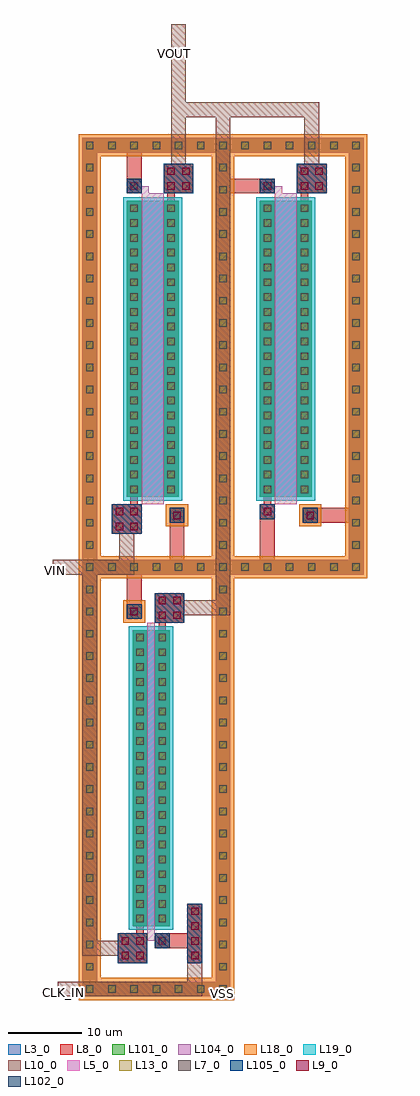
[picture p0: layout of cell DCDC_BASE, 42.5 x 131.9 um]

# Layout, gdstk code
from math import pi, radians
import gdstk
lib = gdstk.Library(unit=1e-6, precision=1e-07)
def R(c, l, rs):  # rectangles x0, y0, x1, y1
    for r in rs: c.add(gdstk.rectangle(r[:2], r[2:], *l))
L3_0 = (3, 0)
L5_0 = (5, 0)
L7_0 = (7, 0)
L8_0 = (8, 0)
L9_0 = (9, 0)
L10_0 = (10, 0)
L13_0 = (13, 0)
L18_0 = (18, 0)
L19_0 = (19, 0)
L101_0 = (101, 0)
L102_0 = (102, 0)
L104_0 = (104, 0)
L105_0 = (105, 0)

dcont1_1 = lib.new_cell('dcont1$1')
R(dcont1_1, L3_0, [(-1,-1,1,1)])
R(dcont1_1, L7_0, [(-0.5,-0.5,0.5,0.5)])
R(dcont1_1, L8_0, [(-1,-1,1,1)])
R(dcont1_1, L13_0, [(-0.5,-0.5,0.5,0.5)])
R(dcont1_1, L101_0, [(-1,-1,1,1)])

psubcont_1 = lib.new_cell('psubcont$1')
R(psubcont_1, L18_0, [(-1.5,-1.5,1.5,1.5)])
R(psubcont_1, L104_0, [(-1,-1,1,1)])
psubcont_1.add(gdstk.Reference(dcont1_1, (0,0)))

dcont = lib.new_cell('dcont')
R(dcont, L3_0, [(-1,-1,1,1)])
R(dcont, L7_0, [(-0.5,-0.5,0.5,0.5)])
R(dcont, L8_0, [(-1,-1,1,1)])
R(dcont, L13_0, [(-0.5,-0.5,0.5,0.5)])
R(dcont, L101_0, [(-1,-1,1,1)])

pcont = lib.new_cell('pcont')
R(pcont, L5_0, [(-1,-1,1,1)])
R(pcont, L7_0, [(-0.5,-0.5,0.5,0.5)])
R(pcont, L8_0, [(-1,-1,1,1)])
R(pcont, L13_0, [(-0.5,-0.5,0.5,0.5)])
R(pcont, L102_0, [(-1,-1,1,1)])

via = lib.new_cell('Via')
R(via, L8_0, [(-1,-1,1,1)])
R(via, L9_0, [(-0.5,-0.5,0.5,0.5)])
R(via, L10_0, [(-1,-1,1,1)])
R(via, L13_0, [(-0.5,-0.5,0.5,0.5)])
R(via, L105_0, [(-1,-1,1,1)])

dcont1 = lib.new_cell('dcont1')
R(dcont1, L3_0, [(-1,-1,1,1)])
R(dcont1, L7_0, [(-0.5,-0.5,0.5,0.5)])
R(dcont1, L8_0, [(-1,-1,1,1)])
R(dcont1, L13_0, [(-0.5,-0.5,0.5,0.5)])
R(dcont1, L101_0, [(-1,-1,1,1)])

psubcont = lib.new_cell('psubcont')
R(psubcont, L18_0, [(-1.5,-1.5,1.5,1.5)])
R(psubcont, L104_0, [(-1,-1,1,1)])
psubcont.add(gdstk.Reference(dcont1, (0,0)))

nch_1 = lib.new_cell('Nch$1')
R(nch_1, L3_0, [(0,3,7,43)])
R(nch_1, L19_0, [(-0.5,2.5,7.5,43.5)])
nch_1.add(gdstk.FlexPath([(3.5,3),(3.5,43)], 3, ends=(1, 1), simple_path=True, layer=5, datatype=0))  # L5_0
nch_1.add(gdstk.FlexPath([(1,44.5),(2.5,44.5),(2.5,44)], 1, ends="flush", simple_path=True, layer=5, datatype=0))  # L5_0
nch_1.add(gdstk.FlexPath([(1,3),(1,43)], 2, ends="flush", simple_path=True, layer=8, datatype=0))  # L8_0
nch_1.add(gdstk.FlexPath([(6,3),(6,43)], 2, ends="flush", simple_path=True, layer=8, datatype=0))  # L8_0
nch_1.add(gdstk.FlexPath([(1,1),(1,4)], 1, ends="flush", simple_path=True, layer=8, datatype=0))  # L8_0
nch_1.add(gdstk.FlexPath([(6,42),(6,45)], 1, ends="flush", simple_path=True, layer=8, datatype=0))  # L8_0
nch_1.add(gdstk.Reference(dcont, (1,4)))
nch_1.add(gdstk.Reference(dcont, (1,6)))
nch_1.add(gdstk.Reference(dcont, (1,8)))
nch_1.add(gdstk.Reference(dcont, (1,10)))
nch_1.add(gdstk.Reference(dcont, (1,12)))
nch_1.add(gdstk.Reference(dcont, (1,14)))
nch_1.add(gdstk.Reference(dcont, (1,16)))
nch_1.add(gdstk.Reference(dcont, (1,18)))
nch_1.add(gdstk.Reference(dcont, (1,20)))
nch_1.add(gdstk.Reference(dcont, (1,22)))
nch_1.add(gdstk.Reference(dcont, (1,24)))
nch_1.add(gdstk.Reference(dcont, (1,26)))
nch_1.add(gdstk.Reference(dcont, (1,28)))
nch_1.add(gdstk.Reference(dcont, (1,30)))
nch_1.add(gdstk.Reference(dcont, (1,32)))
nch_1.add(gdstk.Reference(dcont, (1,34)))
nch_1.add(gdstk.Reference(dcont, (1,36)))
nch_1.add(gdstk.Reference(dcont, (1,38)))
nch_1.add(gdstk.Reference(dcont, (1,40)))
nch_1.add(gdstk.Reference(dcont, (1,42)))
nch_1.add(gdstk.Reference(dcont, (6,4)))
nch_1.add(gdstk.Reference(dcont, (6,6)))
nch_1.add(gdstk.Reference(dcont, (6,8)))
nch_1.add(gdstk.Reference(dcont, (6,10)))
nch_1.add(gdstk.Reference(dcont, (6,12)))
nch_1.add(gdstk.Reference(dcont, (6,14)))
nch_1.add(gdstk.Reference(dcont, (6,16)))
nch_1.add(gdstk.Reference(dcont, (6,18)))
nch_1.add(gdstk.Reference(dcont, (6,20)))
nch_1.add(gdstk.Reference(dcont, (6,22)))
nch_1.add(gdstk.Reference(dcont, (6,24)))
nch_1.add(gdstk.Reference(dcont, (6,26)))
nch_1.add(gdstk.Reference(dcont, (6,28)))
nch_1.add(gdstk.Reference(dcont, (6,30)))
nch_1.add(gdstk.Reference(dcont, (6,32)))
nch_1.add(gdstk.Reference(dcont, (6,34)))
nch_1.add(gdstk.Reference(dcont, (6,36)))
nch_1.add(gdstk.Reference(dcont, (6,38)))
nch_1.add(gdstk.Reference(dcont, (6,40)))
nch_1.add(gdstk.Reference(dcont, (6,42)))
nch_1.add(gdstk.Reference(pcont, (1,45)))
nch_1.add(gdstk.Reference(via, (1,45)))
nch_1.add(gdstk.Reference(via, (1,1)))
nch_1.add(gdstk.Reference(via, (6,45)))
nch_1.add(gdstk.Reference(psubcont, (6.8,0.5)))
nch_1.add(gdstk.Reference(via, (6.8,0.5)))

via_1 = lib.new_cell('Via$1')
R(via_1, L8_0, [(-1,-1,1,1)])
R(via_1, L9_0, [(-0.5,-0.5,0.5,0.5)])
R(via_1, L10_0, [(-1,-1,1,1)])
R(via_1, L13_0, [(-0.5,-0.5,0.5,0.5)])
R(via_1, L105_0, [(-1,-1,1,1)])

nch = lib.new_cell('Nch')
R(nch, L3_0, [(0,3,5,43)])
R(nch, L19_0, [(-0.5,2.5,5.5,43.5)])
nch.add(gdstk.FlexPath([(2.5,3),(2.5,43)], 1, ends=(1, 1), simple_path=True, layer=5, datatype=0))  # L5_0
nch.add(gdstk.FlexPath([(1,44.5),(2.5,44.5),(2.5,44)], 1, ends="flush", simple_path=True, layer=5, datatype=0))  # L5_0
nch.add(gdstk.FlexPath([(1,3),(1,43)], 2, ends="flush", simple_path=True, layer=8, datatype=0))  # L8_0
nch.add(gdstk.FlexPath([(4,3),(4,43)], 2, ends="flush", simple_path=True, layer=8, datatype=0))  # L8_0
nch.add(gdstk.FlexPath([(1,1),(1,4)], 1, ends="flush", simple_path=True, layer=8, datatype=0))  # L8_0
nch.add(gdstk.FlexPath([(4,42),(4,45)], 1, ends="flush", simple_path=True, layer=8, datatype=0))  # L8_0
nch.add(gdstk.Reference(dcont, (1,4)))
nch.add(gdstk.Reference(dcont, (1,6)))
nch.add(gdstk.Reference(dcont, (1,8)))
nch.add(gdstk.Reference(dcont, (1,10)))
nch.add(gdstk.Reference(dcont, (1,12)))
nch.add(gdstk.Reference(dcont, (1,14)))
nch.add(gdstk.Reference(dcont, (1,16)))
nch.add(gdstk.Reference(dcont, (1,18)))
nch.add(gdstk.Reference(dcont, (1,20)))
nch.add(gdstk.Reference(dcont, (1,22)))
nch.add(gdstk.Reference(dcont, (1,24)))
nch.add(gdstk.Reference(dcont, (1,26)))
nch.add(gdstk.Reference(dcont, (1,28)))
nch.add(gdstk.Reference(dcont, (1,30)))
nch.add(gdstk.Reference(dcont, (1,32)))
nch.add(gdstk.Reference(dcont, (1,34)))
nch.add(gdstk.Reference(dcont, (1,36)))
nch.add(gdstk.Reference(dcont, (1,38)))
nch.add(gdstk.Reference(dcont, (1,40)))
nch.add(gdstk.Reference(dcont, (1,42)))
nch.add(gdstk.Reference(dcont, (4,4)))
nch.add(gdstk.Reference(dcont, (4,6)))
nch.add(gdstk.Reference(dcont, (4,8)))
nch.add(gdstk.Reference(dcont, (4,10)))
nch.add(gdstk.Reference(dcont, (4,12)))
nch.add(gdstk.Reference(dcont, (4,14)))
nch.add(gdstk.Reference(dcont, (4,16)))
nch.add(gdstk.Reference(dcont, (4,18)))
nch.add(gdstk.Reference(dcont, (4,20)))
nch.add(gdstk.Reference(dcont, (4,22)))
nch.add(gdstk.Reference(dcont, (4,24)))
nch.add(gdstk.Reference(dcont, (4,26)))
nch.add(gdstk.Reference(dcont, (4,28)))
nch.add(gdstk.Reference(dcont, (4,30)))
nch.add(gdstk.Reference(dcont, (4,32)))
nch.add(gdstk.Reference(dcont, (4,34)))
nch.add(gdstk.Reference(dcont, (4,36)))
nch.add(gdstk.Reference(dcont, (4,38)))
nch.add(gdstk.Reference(dcont, (4,40)))
nch.add(gdstk.Reference(dcont, (4,42)))
nch.add(gdstk.Reference(pcont, (1,45)))
nch.add(gdstk.Reference(via, (1,45)))
nch.add(gdstk.Reference(via, (1,1)))
nch.add(gdstk.Reference(via, (4,45)))
nch.add(gdstk.Reference(psubcont, (4.8,0.5)))
nch.add(gdstk.Reference(via, (4.8,0.5)))

dcdc_base = lib.new_cell('DCDC_BASE')
dcdc_base.add(gdstk.FlexPath([(2.6,54.8),(2.6,-60.2),(20.6,-60.2),(20.6,53.8),(3.6,53.8)], 2, ends="flush", simple_path=True, layer=3, datatype=0))  # L3_0
dcdc_base.add(gdstk.FlexPath([(21.6,-3.2),(38.6,-3.2),(38.6,53.8),(21.6,53.8)], 2, ends="flush", simple_path=True, layer=3, datatype=0))  # L3_0
dcdc_base.add(gdstk.FlexPath([(3.6,-3.2),(19.6,-3.2)], 2, ends="flush", simple_path=True, layer=3, datatype=0))  # L3_0
dcdc_base.add(gdstk.FlexPath([(2.6,54.8),(2.6,-60.2),(20.6,-60.2),(20.6,53.8),(3.6,53.8)], 2, ends="flush", simple_path=True, layer=8, datatype=0))  # L8_0
dcdc_base.add(gdstk.FlexPath([(3.6,-3.2),(38.6,-3.2),(38.6,53.8),(21.6,53.8)], 2, ends="flush", simple_path=True, layer=8, datatype=0))  # L8_0
dcdc_base.add(gdstk.FlexPath([(31.4,3.8),(38.8,3.8)], 2, ends="flush", simple_path=True, layer=8, datatype=0))  # L8_0
dcdc_base.add(gdstk.FlexPath([(26.6,5),(26.6,-3.4)], 2, ends="flush", simple_path=True, layer=8, datatype=0))  # L8_0
dcdc_base.add(gdstk.FlexPath([(26.6,48.3),(20.6,48.3)], 2, ends="flush", simple_path=True, layer=8, datatype=0))  # L8_0
dcdc_base.add(gdstk.FlexPath([(8.6,-9.2),(8.6,-3.3)], 2, ends="flush", simple_path=True, layer=8, datatype=0))  # L8_0
dcdc_base.add(gdstk.FlexPath([(12.5,-53.7),(16.9,-53.7)], 2, ends="flush", simple_path=True, layer=8, datatype=0))  # L8_0
dcdc_base.add(gdstk.FlexPath([(8.6,48.3),(8.6,53.9)], 2, ends="flush", simple_path=True, layer=8, datatype=0))  # L8_0
dcdc_base.add(gdstk.FlexPath([(14.4,3.8),(14.4,-3.2)], 2, ends="flush", simple_path=True, layer=8, datatype=0))  # L8_0
dcdc_base.add(gdstk.FlexPath([(16.8,-54.5),(16.8,-60.2),(-1.7,-60.2)], 2, ends="flush", simple_path=True, layer=10, datatype=0))  # L10_0
dcdc_base.add(gdstk.FlexPath([(14.6,49.3),(14.6,58.6),(32.6,58.6),(32.6,49.3)], 2, ends="flush", simple_path=True, layer=10, datatype=0))  # L10_0
dcdc_base.add(gdstk.FlexPath([(14.6,58.6),(14.6,70.2)], 2, ends="flush", simple_path=True, layer=10, datatype=0))  # L10_0
dcdc_base.add(gdstk.FlexPath([(7.6,3.3),(7.6,-3.2),(-2.4,-3.2)], 2, ends="flush", simple_path=True, layer=10, datatype=0))  # L10_0
dcdc_base.add(gdstk.FlexPath([(13.4,-8.7),(20.6,-8.7),(20.6,58.5)], 2, ends="flush", simple_path=True, layer=10, datatype=0))  # L10_0
dcdc_base.add(gdstk.FlexPath([(8.4,-54.7),(2.6,-54.7),(2.6,-3.2)], 2, ends="flush", simple_path=True, layer=10, datatype=0))  # L10_0
dcdc_base.add(gdstk.FlexPath([(2.6,54.8),(2.6,-60.2),(20.6,-60.2),(20.6,53.8),(3.6,53.8)], 2, ends="flush", simple_path=True, layer=101, datatype=0))  # L101_0
dcdc_base.add(gdstk.FlexPath([(3.6,-3.2),(38.6,-3.2),(38.6,53.8),(21.6,53.8)], 2, ends="flush", simple_path=True, layer=101, datatype=0))  # L101_0
dcdc_base.add(gdstk.FlexPath([(2.6,54.8),(2.6,-60.2),(20.6,-60.2),(20.6,53.8),(3.6,53.8)], 2, ends="flush", simple_path=True, layer=104, datatype=0))  # L104_0
dcdc_base.add(gdstk.FlexPath([(3.6,-3.2),(38.6,-3.2),(38.6,53.8),(21.6,53.8)], 2, ends="flush", simple_path=True, layer=104, datatype=0))  # L104_0
dcdc_base.add(gdstk.Reference(psubcont_1, (20.6,53.8)))
dcdc_base.add(gdstk.Reference(psubcont_1, (2.6,-3.2)))
dcdc_base.add(gdstk.Reference(psubcont_1, (5.6,-3.2)))
dcdc_base.add(gdstk.Reference(psubcont_1, (8.6,-3.2)))
dcdc_base.add(gdstk.Reference(psubcont_1, (11.6,-3.2)))
dcdc_base.add(gdstk.Reference(psubcont_1, (14.6,-3.2)))
dcdc_base.add(gdstk.Reference(psubcont_1, (17.6,-3.2)))
dcdc_base.add(gdstk.Reference(psubcont_1, (20.6,-3.2)))
dcdc_base.add(gdstk.Reference(psubcont_1, (23.6,-3.2)))
dcdc_base.add(gdstk.Reference(psubcont_1, (26.6,-3.2)))
dcdc_base.add(gdstk.Reference(psubcont_1, (29.6,-3.2)))
dcdc_base.add(gdstk.Reference(psubcont_1, (32.6,-3.2)))
dcdc_base.add(gdstk.Reference(psubcont_1, (35.6,-3.2)))
dcdc_base.add(gdstk.Reference(psubcont_1, (38.6,-3.2)))
dcdc_base.add(gdstk.Reference(psubcont_1, (38.6,-3.2)))
dcdc_base.add(gdstk.Reference(psubcont_1, (20.6,50.8)))
dcdc_base.add(gdstk.Reference(psubcont_1, (20.6,47.8)))
dcdc_base.add(gdstk.Reference(psubcont_1, (20.6,44.8)))
dcdc_base.add(gdstk.Reference(psubcont_1, (20.6,41.8)))
dcdc_base.add(gdstk.Reference(psubcont_1, (20.6,38.8)))
dcdc_base.add(gdstk.Reference(psubcont_1, (20.6,35.8)))
dcdc_base.add(gdstk.Reference(psubcont_1, (20.6,32.8)))
dcdc_base.add(gdstk.Reference(psubcont_1, (20.6,29.8)))
dcdc_base.add(gdstk.Reference(psubcont_1, (20.6,26.8)))
dcdc_base.add(gdstk.Reference(psubcont_1, (20.6,23.8)))
dcdc_base.add(gdstk.Reference(psubcont_1, (20.6,20.8)))
dcdc_base.add(gdstk.Reference(psubcont_1, (20.6,17.8)))
dcdc_base.add(gdstk.Reference(psubcont_1, (20.6,14.8)))
dcdc_base.add(gdstk.Reference(psubcont_1, (20.6,11.8)))
dcdc_base.add(gdstk.Reference(psubcont_1, (20.6,8.8)))
dcdc_base.add(gdstk.Reference(psubcont_1, (20.6,5.8)))
dcdc_base.add(gdstk.Reference(psubcont_1, (20.6,2.8)))
dcdc_base.add(gdstk.Reference(psubcont_1, (20.6,-0.2)))
dcdc_base.add(gdstk.Reference(psubcont_1, (20.6,-6.2)))
dcdc_base.add(gdstk.Reference(psubcont_1, (20.6,-9.2)))
dcdc_base.add(gdstk.Reference(psubcont_1, (20.6,-12.2)))
dcdc_base.add(gdstk.Reference(psubcont_1, (20.6,-15.2)))
dcdc_base.add(gdstk.Reference(psubcont_1, (20.6,-18.2)))
dcdc_base.add(gdstk.Reference(psubcont_1, (20.6,-21.2)))
dcdc_base.add(gdstk.Reference(psubcont_1, (20.6,-24.2)))
dcdc_base.add(gdstk.Reference(psubcont_1, (20.6,-27.2)))
dcdc_base.add(gdstk.Reference(psubcont_1, (20.6,-30.2)))
dcdc_base.add(gdstk.Reference(psubcont_1, (20.6,-33.2)))
dcdc_base.add(gdstk.Reference(psubcont_1, (20.6,-36.2)))
dcdc_base.add(gdstk.Reference(psubcont_1, (20.6,-39.2)))
dcdc_base.add(gdstk.Reference(psubcont_1, (20.6,-42.2)))
dcdc_base.add(gdstk.Reference(psubcont_1, (20.6,-45.2)))
dcdc_base.add(gdstk.Reference(psubcont_1, (20.6,-48.2)))
dcdc_base.add(gdstk.Reference(psubcont_1, (20.6,-51.2)))
dcdc_base.add(gdstk.Reference(psubcont_1, (20.6,-54.2)))
dcdc_base.add(gdstk.Reference(psubcont_1, (20.6,-57.2)))
dcdc_base.add(gdstk.Reference(psubcont_1, (20.6,-60.2)))
dcdc_base.add(gdstk.Reference(psubcont_1, (38.6,-0.2)))
dcdc_base.add(gdstk.Reference(nch_1, (25.6,3.3)))
dcdc_base.add(gdstk.Reference(psubcont_1, (23.6,53.8)))
dcdc_base.add(gdstk.Reference(psubcont_1, (26.6,53.8)))
dcdc_base.add(gdstk.Reference(psubcont_1, (38.6,2.8)))
dcdc_base.add(gdstk.Reference(psubcont_1, (38.6,5.8)))
dcdc_base.add(gdstk.Reference(psubcont_1, (38.6,8.8)))
dcdc_base.add(gdstk.Reference(psubcont_1, (38.6,11.8)))
dcdc_base.add(gdstk.Reference(psubcont_1, (38.6,14.8)))
dcdc_base.add(gdstk.Reference(psubcont_1, (38.6,17.8)))
dcdc_base.add(gdstk.Reference(psubcont_1, (38.6,20.8)))
dcdc_base.add(gdstk.Reference(psubcont_1, (38.6,23.8)))
dcdc_base.add(gdstk.Reference(psubcont_1, (38.6,26.8)))
dcdc_base.add(gdstk.Reference(psubcont_1, (38.6,29.8)))
dcdc_base.add(gdstk.Reference(psubcont_1, (38.6,32.8)))
dcdc_base.add(gdstk.Reference(psubcont_1, (38.6,35.8)))
dcdc_base.add(gdstk.Reference(psubcont_1, (38.6,38.8)))
dcdc_base.add(gdstk.Reference(psubcont_1, (38.6,41.8)))
dcdc_base.add(gdstk.Reference(psubcont_1, (38.6,44.8)))
dcdc_base.add(gdstk.Reference(psubcont_1, (38.6,47.8)))
dcdc_base.add(gdstk.Reference(psubcont_1, (38.6,50.8)))
dcdc_base.add(gdstk.Reference(psubcont_1, (38.6,53.8)))
dcdc_base.add(gdstk.Reference(psubcont_1, (32.6,53.8)))
dcdc_base.add(gdstk.Reference(psubcont_1, (35.6,53.8)))
dcdc_base.add(gdstk.Reference(psubcont_1, (29.6,53.8)))
dcdc_base.add(gdstk.Reference(via_1, (31.6,50.3)))
dcdc_base.add(gdstk.Reference(via_1, (33.6,48.3)))
dcdc_base.add(gdstk.Reference(via_1, (33.6,50.3)))
dcdc_base.add(gdstk.Reference(psubcont_1, (14.6,53.8)))
dcdc_base.add(gdstk.Reference(psubcont_1, (17.6,53.8)))
dcdc_base.add(gdstk.Reference(nch_1, (7.6,3.3)))
dcdc_base.add(gdstk.Reference(psubcont_1, (5.6,53.8)))
dcdc_base.add(gdstk.Reference(psubcont_1, (8.6,53.8)))
dcdc_base.add(gdstk.Reference(psubcont_1, (11.6,53.8)))
dcdc_base.add(gdstk.Reference(psubcont_1, (2.6,53.8)))
dcdc_base.add(gdstk.Reference(psubcont_1, (2.6,50.8)))
dcdc_base.add(gdstk.Reference(psubcont_1, (2.6,47.8)))
dcdc_base.add(gdstk.Reference(psubcont_1, (2.6,44.8)))
dcdc_base.add(gdstk.Reference(psubcont_1, (2.6,41.8)))
dcdc_base.add(gdstk.Reference(psubcont_1, (2.6,38.8)))
dcdc_base.add(gdstk.Reference(psubcont_1, (2.6,35.8)))
dcdc_base.add(gdstk.Reference(psubcont_1, (2.6,32.8)))
dcdc_base.add(gdstk.Reference(psubcont_1, (2.6,29.8)))
dcdc_base.add(gdstk.Reference(psubcont_1, (2.6,26.8)))
dcdc_base.add(gdstk.Reference(psubcont_1, (2.6,23.8)))
dcdc_base.add(gdstk.Reference(psubcont_1, (2.6,20.8)))
dcdc_base.add(gdstk.Reference(psubcont_1, (2.6,17.8)))
dcdc_base.add(gdstk.Reference(psubcont_1, (2.6,14.8)))
dcdc_base.add(gdstk.Reference(psubcont_1, (2.6,11.8)))
dcdc_base.add(gdstk.Reference(psubcont_1, (2.6,8.8)))
dcdc_base.add(gdstk.Reference(psubcont_1, (2.6,5.8)))
dcdc_base.add(gdstk.Reference(psubcont_1, (2.6,2.8)))
dcdc_base.add(gdstk.Reference(psubcont_1, (2.6,-0.2)))
dcdc_base.add(gdstk.Reference(via_1, (13.6,50.3)))
dcdc_base.add(gdstk.Reference(via_1, (15.6,50.3)))
dcdc_base.add(gdstk.Reference(via_1, (15.6,48.3)))
dcdc_base.add(gdstk.Reference(via_1, (6.6,4.3)))
dcdc_base.add(gdstk.Reference(via_1, (6.6,2.3)))
dcdc_base.add(gdstk.Reference(via_1, (8.6,2.3)))
dcdc_base.add(gdstk.Reference(psubcont_1, (2.6,-57.2)))
dcdc_base.add(gdstk.Reference(nch, (13.4,-8.7), rotation=pi))
dcdc_base.add(gdstk.Reference(psubcont_1, (2.6,-6.2)))
dcdc_base.add(gdstk.Reference(psubcont_1, (2.6,-9.2)))
dcdc_base.add(gdstk.Reference(psubcont_1, (2.6,-12.2)))
dcdc_base.add(gdstk.Reference(psubcont_1, (2.6,-15.2)))
dcdc_base.add(gdstk.Reference(psubcont_1, (2.6,-18.2)))
dcdc_base.add(gdstk.Reference(psubcont_1, (2.6,-21.2)))
dcdc_base.add(gdstk.Reference(psubcont_1, (2.6,-24.2)))
dcdc_base.add(gdstk.Reference(psubcont_1, (2.6,-27.2)))
dcdc_base.add(gdstk.Reference(psubcont_1, (2.6,-30.2)))
dcdc_base.add(gdstk.Reference(psubcont_1, (2.6,-33.2)))
dcdc_base.add(gdstk.Reference(psubcont_1, (8.6,-60.2)))
dcdc_base.add(gdstk.Reference(psubcont_1, (11.6,-60.2)))
dcdc_base.add(gdstk.Reference(psubcont_1, (14.6,-60.2)))
dcdc_base.add(gdstk.Reference(psubcont_1, (17.6,-60.2)))
dcdc_base.add(gdstk.Reference(psubcont_1, (2.6,-60.2)))
dcdc_base.add(gdstk.Reference(psubcont_1, (2.6,-36.2)))
dcdc_base.add(gdstk.Reference(psubcont_1, (2.6,-39.2)))
dcdc_base.add(gdstk.Reference(psubcont_1, (5.6,-60.2)))
dcdc_base.add(gdstk.Reference(psubcont_1, (2.6,-42.2)))
dcdc_base.add(gdstk.Reference(psubcont_1, (2.6,-45.2)))
dcdc_base.add(gdstk.Reference(psubcont_1, (2.6,-48.2)))
dcdc_base.add(gdstk.Reference(psubcont_1, (2.6,-51.2)))
dcdc_base.add(gdstk.Reference(psubcont_1, (2.6,-54.2)))
dcdc_base.add(gdstk.Reference(via_1, (16.8,-51.7)))
dcdc_base.add(gdstk.Reference(via_1, (16.8,-55.7)))
dcdc_base.add(gdstk.Reference(via_1, (16.8,-53.7)))
dcdc_base.add(gdstk.Reference(via_1, (12.4,-7.7)))
dcdc_base.add(gdstk.Reference(via_1, (14.4,-7.7)))
dcdc_base.add(gdstk.Reference(via_1, (14.4,-9.7)))
dcdc_base.add(gdstk.Reference(via_1, (7.4,-53.7)))
dcdc_base.add(gdstk.Reference(via_1, (9.4,-55.7)))
dcdc_base.add(gdstk.Reference(via_1, (7.4,-55.7)))
dcdc_base.add(gdstk.Reference(via_1, (16.8,-49.7)))
dcdc_base.add(gdstk.Label('VSS', (20.6,-60.8), layer=8, texttype=0))
dcdc_base.add(gdstk.Label('VIN', (-2,-3.7), layer=10, texttype=0))
dcdc_base.add(gdstk.Label('VOUT', (14.1,66.2), layer=10, texttype=0))
dcdc_base.add(gdstk.Label('CLK_IN', (-1,-60.7), layer=10, texttype=0))

lib.write_gds('DCDC_BASE.gds')
